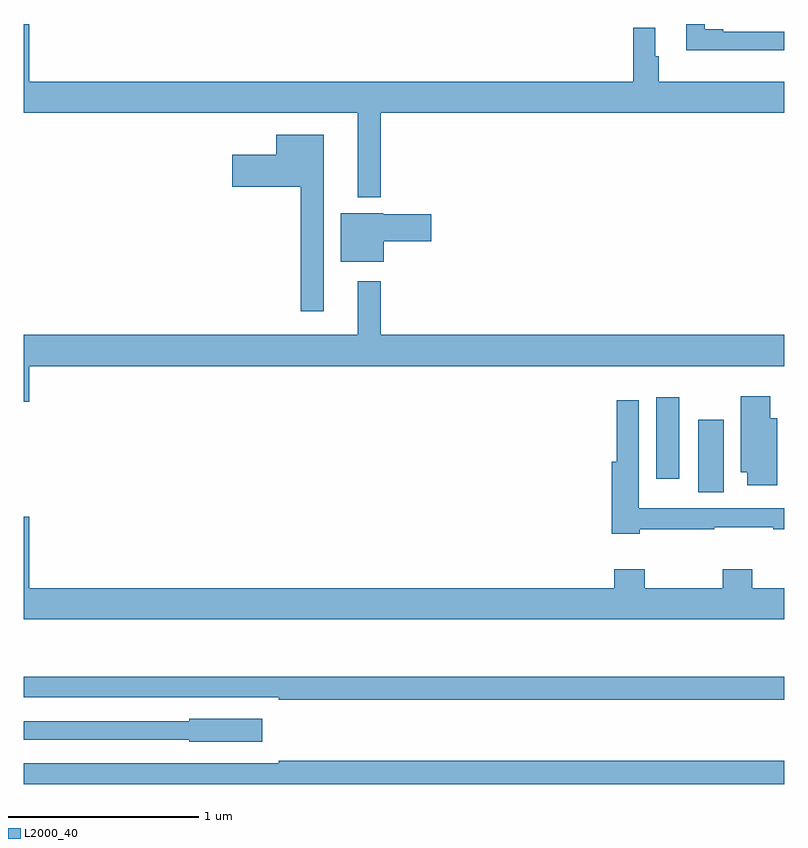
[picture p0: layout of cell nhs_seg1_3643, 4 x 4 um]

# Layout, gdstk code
import gdstk
lib = gdstk.Library(unit=1e-6, precision=1e-09)
def R(c, l, rs):  # rectangles x0, y0, x1, y1
    for r in rs: c.add(gdstk.rectangle(r[:2], r[2:], *l))
def P(c, l, *ps):  # polygons
    for p in ps: c.add(gdstk.Polygon(p, *l))
L2000_40 = (2000, 40)

nhs_seg1_3643 = lib.new_cell('nhs_seg1_3643')
R(nhs_seg1_3643, L2000_40, [(312.548,549.736,312.682,550.117), (312.326,549.807,312.448,550.237)])
P(nhs_seg1_3643, L2000_40, [(310.879,551.732),(313,551.732),(313,551.896),(312.341,551.896),(312.341,552.029),(312.322,552.029),(312.322,552.178),(312.205,552.178),(312.205,551.896),(309.028,551.896),(309.028,552.199),(309,552.199),(309,551.732),(310.757,551.732),(310.757,551.288),(310.879,551.288)],
  [(313,552.159),(312.679,552.159),(312.679,552.172),(312.583,552.172),(312.583,552.199),(312.485,552.199),(312.485,552.062),(312.997,552.062),(312.997,552.06),(313,552.06)],
  [(310.579,551.617),(310.328,551.617),(310.328,551.512),(310.098,551.512),(310.098,551.342),(310.458,551.342),(310.458,550.689),(310.579,550.689)],
  [(310.894,551.056),(311.143,551.056),(311.143,551.198),(310.89,551.198),(310.89,551.203),(310.667,551.203),(310.667,550.949),(310.894,550.949)],
  [(309.028,550.4),(313,550.4),(313,550.564),(310.879,550.564),(310.879,550.846),(310.757,550.846),(310.757,550.564),(309,550.564),(309,550.212),(309.028,550.212)],
  [(312.964,550.126),(312.925,550.126),(312.925,550.24),(312.77,550.24),(312.77,549.842),(312.806,549.842),(312.806,549.774),(312.964,549.774)],
  [(312.239,549.543),(312.632,549.543),(312.632,549.553),(312.941,549.553),(312.941,549.543),(313,549.543),(313,549.651),(312.444,549.651),(312.444,549.652),(312.234,549.652),(312.234,550.219),(312.118,550.219),(312.118,549.898),(312.092,549.898),(312.092,549.518),(312.239,549.518)],
  [(313,549.232),(312.831,549.232),(312.831,549.331),(312.676,549.331),(312.676,549.232),(312.267,549.232),(312.267,549.331),(312.107,549.331),(312.107,549.232),(309.028,549.232),(309.028,549.607),(309,549.607),(309,549.068),(313,549.068)],
  [(313,548.767),(309,548.767),(309,548.658),(310.342,548.658),(310.342,548.646),(313,548.646)],
  [(310.255,548.545),(309.87,548.545),(309.87,548.532),(309,548.532),(309,548.436),(309.87,548.436),(309.87,548.423),(310.255,548.423)],
  [(313,548.323),(310.342,548.323),(310.342,548.31),(309,548.31),(309,548.202),(313,548.202)])

lib.write_gds('nhs_seg1_3643.gds')
